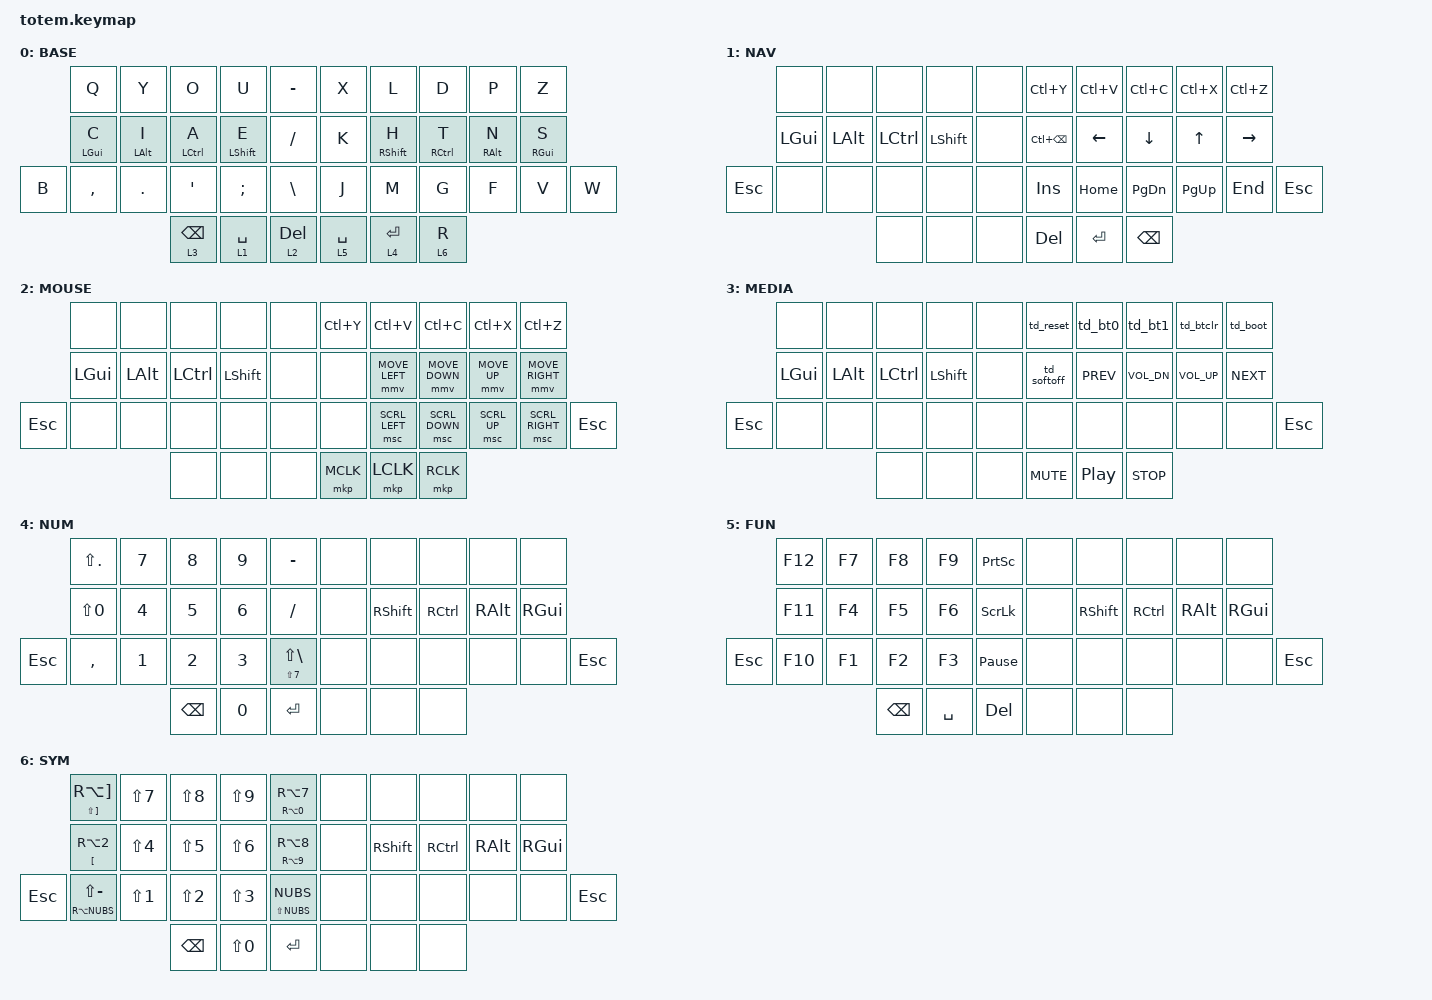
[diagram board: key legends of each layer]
#define ZMK_POINTING_DEFAULT_MOVE_VAL 1200  // 600
#define ZMK_POINTING_DEFAULT_SCRL_VAL 25   // 10

#include <input/processors.dtsi>
#include <zephyr/dt-bindings/input/input-event-codes.h>
#include <behaviors.dtsi>
#include <dt-bindings/zmk/bt.h>
#include <dt-bindings/zmk/keys.h>
#include <dt-bindings/zmk/pointing.h>

&mmv_input_listener { input-processors = <&zip_xy_scaler 2 1>; };

&msc_input_listener { input-processors = <&zip_scroll_scaler 2 1>; };

&msc {
    acceleration-exponent = <1>;
    time-to-max-speed-ms = <100>;
    delay-ms = <0>;
};

&mmv {
    time-to-max-speed-ms = <500>;
    acceleration-exponent = <1>;
    trigger-period-ms = <16>;
};

/ {
    behaviors {
        hm: homerow_mods {
            compatible = "zmk,behavior-hold-tap";
            #binding-cells = <2>;
            flavor = "balanced";
            tapping-term-ms = <280>;
            quick-tap-ms = <175>;
            require-prior-idle-ms = <150>;
            bindings = <&kp>, <&kp>;
        };

        ht: tap_hold {
            compatible = "zmk,behavior-hold-tap";
            #binding-cells = <2>;
            flavor = "tap-preferred";
            tapping-term-ms = <200>;
            quick-tap-ms = <175>;
            require-prior-idle-ms = <150>;
            bindings = <&kp>, <&kp>;
        };

        td_softoff: td_softoff {
            compatible = "zmk,behavior-tap-dance";
            #binding-cells = <0>;
            tapping-term-ms = <200>;
            bindings = <&none>, <&soft_off>;
        };

        td_boot: td_boot {
            compatible = "zmk,behavior-tap-dance";
            #binding-cells = <0>;
            tapping-term-ms = <200>;
            bindings = <&none>, <&bootloader>;
        };

        td_reset: td_reset {
            compatible = "zmk,behavior-tap-dance";
            #binding-cells = <0>;
            tapping-term-ms = <200>;
            bindings = <&none>, <&sys_reset>;
        };

        td_btclr: td_btclr {
            compatible = "zmk,behavior-tap-dance";
            #binding-cells = <0>;
            tapping-term-ms = <200>;
            bindings = <&none>, <&bt BT_CLR>;
        };

        td_bt0: td_bt0 {
            compatible = "zmk,behavior-tap-dance";
            #binding-cells = <0>;
            tapping-term-ms = <200>;
            bindings = <&none>, <&bt BT_SEL 0>;
        };

        td_bt1: td_bt1 {
            compatible = "zmk,behavior-tap-dance";
            #binding-cells = <0>;
            tapping-term-ms = <200>;
            bindings = <&none>, <&bt BT_SEL 1>;
        };
    };

    keymap {
        compatible = "zmk,keymap";

        BASE {
            bindings = <
       &kp Q       &kp Y       &kp O        &kp U         &kp MINUS    &kp X        &kp L         &kp D        &kp P       &kp Z
       &hm LGUI C  &hm LALT I  &hm LCTRL A  &hm LSHIFT E  &kp SLASH    &kp K        &hm RSHIFT H  &hm RCTRL T  &hm RALT N  &hm RGUI S
&kp B  &kp COMMA   &kp PERIOD  &kp APOS     &kp SEMI      &kp BSLH     &kp J        &kp M         &kp G        &kp F       &kp V       &kp W
                               &lt 3 BSPC   &lt 1 SPACE   &lt 2 DEL    &lt 5 SPACE  &lt 4 ENTER   &lt 6 R
            >;

            display-name = "BASE";
        };

        NAV {
            bindings = <
         &none     &none     &none      &none       &none    &kp LC(Y)          &kp LC(V)  &kp LC(C)      &kp LC(X)    &kp LC(Z)
         &kp LGUI  &kp LALT  &kp LCTRL  &kp LSHIFT  &none    &kp LC(BACKSPACE)  &kp LEFT   &kp DOWN       &kp UP       &kp RIGHT
&kp ESC  &none     &none     &none      &none       &none    &kp INS            &kp HOME   &kp PAGE_DOWN  &kp PAGE_UP  &kp END    &kp ESC
                             &none      &none       &none    &kp DEL            &kp ENTER  &kp BACKSPACE
            >;

            display-name = "NAV";
        };

        MOUSE {
            bindings = <
         &none     &none     &none      &none       &none    &kp LC(Y)  &kp LC(V)       &kp LC(C)       &kp LC(X)     &kp LC(Z)
         &kp LGUI  &kp LALT  &kp LCTRL  &kp LSHIFT  &none    &none      &mmv MOVE_LEFT  &mmv MOVE_DOWN  &mmv MOVE_UP  &mmv MOVE_RIGHT
&kp ESC  &none     &none     &none      &none       &none    &none      &msc SCRL_LEFT  &msc SCRL_DOWN  &msc SCRL_UP  &msc SCRL_RIGHT  &kp ESC
                             &none      &none       &none    &mkp MCLK  &mkp LCLK       &mkp RCLK
            >;

            display-name = "MOUSE";
        };

        MEDIA {
            bindings = <
         &none     &none     &none      &none       &none    &td_reset    &td_bt0     &td_bt1       &td_btclr     &td_boot
         &kp LGUI  &kp LALT  &kp LCTRL  &kp LSHIFT  &none    &td_softoff  &kp C_PREV  &kp C_VOL_DN  &kp C_VOL_UP  &kp C_NEXT
&kp ESC  &none     &none     &none      &none       &none    &none        &none       &none         &none         &none       &kp ESC
                             &none      &none       &none    &kp C_MUTE   &kp C_PP    &kp C_STOP
            >;

            display-name = "MEDIA";
        };

        NUM {
            bindings = <
         &kp LS(PERIOD)  &kp N7  &kp N8         &kp N9  &kp MINUS                   &none  &none       &none      &none     &none
         &kp LS(N0)      &kp N4  &kp N5         &kp N6  &kp SLASH                   &none  &kp RSHIFT  &kp RCTRL  &kp RALT  &kp RGUI
&kp ESC  &kp COMMA       &kp N1  &kp N2         &kp N3  &ht LS(N7) LS(BACKSLASH)    &none  &none       &none      &none     &none     &kp ESC
                                 &kp BACKSPACE  &kp N0  &kp ENTER                   &none  &none       &none
            >;

            display-name = "NUM";
        };

        FUN {
            bindings = <
         &kp F12  &kp F7  &kp F8         &kp F9     &kp PRINTSCREEN    &none  &none       &none      &none     &none
         &kp F11  &kp F4  &kp F5         &kp F6     &kp SCROLLLOCK     &none  &kp RSHIFT  &kp RCTRL  &kp RALT  &kp RGUI
&kp ESC  &kp F10  &kp F1  &kp F2         &kp F3     &kp PAUSE_BREAK    &none  &none       &none      &none     &none     &kp ESC
                          &kp BACKSPACE  &kp SPACE  &kp DEL            &none  &none       &none
            >;

            display-name = "FUN";
        };

        SYM {
            bindings = <
         &ht LS(RBKT) RA(RBKT)   &kp LS(N7)  &kp LS(N8)     &kp LS(N9)  &ht RA(N0) RA(N7)    &none  &none       &none      &none     &none
         &ht LBKT RA(N2)         &kp LS(N4)  &kp LS(N5)     &kp LS(N6)  &ht RA(N9) RA(N8)    &none  &kp RSHIFT  &kp RCTRL  &kp RALT  &kp RGUI
&kp ESC  &ht RA(NUBS) LS(MINUS)  &kp LS(N1)  &kp LS(N2)     &kp LS(N3)  &ht LS(NUBS) NUBS    &none  &none       &none      &none     &none     &kp ESC
                                             &kp BACKSPACE  &kp LS(N0)  &kp ENTER            &none  &none       &none
            >;

            display-name = "SYM";
        };
    };

    combos {
        compatible = "zmk,combos";

        combo_tab {
            timeout-ms = <40>;
            key-positions = <32 33>;
            bindings = <&kp TAB>;
            layers = <0>;
        };

        combo_caps_word {
            timeout-ms = <50>;
            key-positions = <13 16>;
            bindings = <&caps_word>;
            layers = <0>;
        };
    };
};
